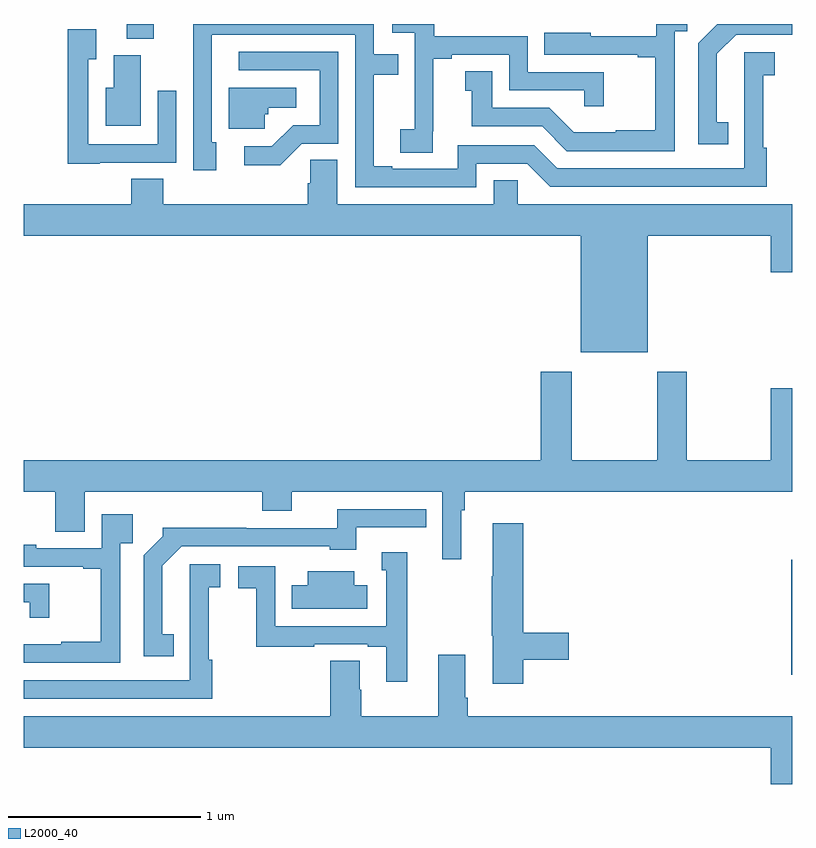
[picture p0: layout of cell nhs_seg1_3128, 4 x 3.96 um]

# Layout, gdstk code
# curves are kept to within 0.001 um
import gdstk
lib = gdstk.Library(unit=1e-6, precision=1e-09)
def R(c, l, rs):  # rectangles x0, y0, x1, y1
    for r in rs: c.add(gdstk.rectangle(r[:2], r[2:], *l))
def P(c, l, *ps):  # polygons
    for p in ps: c.add(gdstk.Polygon(p, *l))
L2000_40 = (2000, 40)

nhs_seg1_3128 = lib.new_cell('nhs_seg1_3128')
R(nhs_seg1_3128, L2000_40, [(284.995,518.813,285,519.41), (281.537,522.121,281.677,522.199)])
P(nhs_seg1_3128, L2000_40, [(284.388,522.161),(284.453,522.161),(284.453,522.199),(284.292,522.199),(284.292,522.135),(283.951,522.135),(283.951,522.154),(283.708,522.154),(283.708,522.039),(284.195,522.039),(284.195,522.027),(284.287,522.027),(284.287,521.647),(284.081,521.647),(284.081,521.635),(283.862,521.635),(283.734,521.763),(283.438,521.763),(283.438,521.954),(283.298,521.954),(283.298,521.851),(283.331,521.851),(283.331,521.667),(283.698,521.667),(283.827,521.538),(284.388,521.538)],
  [(284.666,521.687),(284.608,521.687),(284.608,522.043),(284.709,522.144),(285,522.144),(285,522.199),(284.61,522.199),(284.61,522.197),(284.511,522.098),(284.511,521.574),(284.666,521.574)],
  [(283.13,521.641),(283.132,521.641),(283.132,522.019),(283.228,522.019),(283.228,522.039),(283.527,522.039),(283.527,521.853),(283.917,521.853),(283.917,521.772),(284.018,521.772),(284.018,521.949),(283.623,521.949),(283.623,522.135),(283.136,522.135),(283.136,522.199),(282.918,522.199),(282.918,522.153),(283.035,522.153),(283.035,521.849),(283.034,521.849),(283.034,521.652),(282.96,521.652),(282.96,521.53),(283.13,521.53)],
  [(283.356,521.472),(283.62,521.472),(283.74,521.352),(284.867,521.352),(284.867,521.555),(284.85,521.555),(284.85,521.931),(284.908,521.931),(284.908,522.052),(284.75,522.052),(284.751,521.448),(283.776,521.448),(283.656,521.568),(283.26,521.568),(283.26,521.445),(282.919,521.445),(282.919,521.46),(282.823,521.46),(282.823,521.934),(282.95,521.934),(282.95,522.042),(282.822,522.042),(282.822,522.199),(281.882,522.199),(281.883,521.439),(282.001,521.439),(282.001,521.583),(281.979,521.583),(281.979,522.144),(282.726,522.144),(282.726,521.349),(283.356,521.349)],
  [(281.397,521.478),(281.793,521.478),(281.793,521.851),(281.697,521.851),(281.697,521.574),(281.337,521.574),(281.337,522.016),(281.377,522.016),(281.377,522.172),(281.229,522.172),(281.229,521.471),(281.397,521.471)],
  [(282.447,521.577),(282.636,521.577),(282.636,522.054),(282.12,522.054),(282.12,521.958),(282.54,521.958),(282.54,521.673),(282.402,521.673),(282.291,521.562),(282.147,521.562),(282.147,521.465),(282.334,521.465)],
  [(281.608,522.036),(281.468,522.036),(281.468,521.866),(281.426,521.866),(281.426,521.669),(281.608,521.669)],
  [(282.255,521.73),(282.274,521.73),(282.274,521.762),(282.418,521.762),(282.418,521.866),(282.068,521.866),(282.068,521.655),(282.255,521.655)],
  [(284.248,521.096),(284.888,521.096),(284.888,520.908),(285,520.908),(285,521.26),(283.572,521.26),(283.572,521.387),(283.445,521.387),(283.445,521.26),(282.631,521.26),(282.631,521.492),(282.492,521.492),(282.492,521.369),(282.479,521.369),(282.479,521.26),(281.726,521.26),(281.726,521.393),(281.561,521.393),(281.561,521.26),(281,521.26),(281,521.096),(283.898,521.096),(283.898,520.49),(284.248,520.49)],
  [(283.276,519.668),(283.295,519.668),(283.295,519.764),(285,519.764),(285,520.303),(284.888,520.303),(284.888,519.928),(284.451,519.928),(284.451,520.39),(284.296,520.39),(284.296,519.928),(283.851,519.928),(283.851,520.39),(283.691,520.39),(283.691,519.928),(281,519.928),(281,519.764),(281.165,519.764),(281.165,519.556),(281.317,519.556),(281.317,519.764),(282.242,519.764),(282.242,519.665),(282.394,519.665),(282.394,519.764),(283.179,519.764),(283.179,519.414),(283.276,519.414)],
  [(281.78,519.023),(281.722,519.023),(281.722,519.379),(281.823,519.48),(282.594,519.48),(282.594,519.464),(282.73,519.464),(282.73,519.579),(283.094,519.579),(283.094,519.675),(282.631,519.675),(282.631,519.576),(282.158,519.576),(282.158,519.578),(281.724,519.578),(281.724,519.533),(281.625,519.434),(281.625,518.91),(281.78,518.91)],
  [(281.502,519.497),(281.567,519.497),(281.567,519.649),(281.406,519.649),(281.406,519.471),(281.065,519.471),(281.065,519.49),(281,519.49),(281,519.375),(281.309,519.375),(281.309,519.363),(281.401,519.363),(281.401,518.983),(281.195,518.983),(281.195,518.971),(281,518.971),(281,518.874),(281.502,518.874)],
  [(283.601,518.89),(283.837,518.89),(283.837,519.032),(283.601,519.032),(283.601,519.601),(283.442,519.601),(283.442,519.326),(283.435,519.326),(283.435,519.015),(283.442,519.015),(283.442,518.766),(283.601,518.766)],
  [(282.997,519.451),(282.863,519.451),(282.863,519.357),(282.888,519.357),(282.888,519.066),(282.309,519.066),(282.309,519.378),(282.117,519.378),(282.117,519.262),(282.211,519.262),(282.211,518.958),(282.512,518.958),(282.512,518.97),(282.791,518.97),(282.791,518.958),(282.887,518.958),(282.887,518.775),(282.997,518.775)],
  [(281.981,518.891),(281.964,518.891),(281.964,519.267),(282.022,519.267),(282.022,519.388),(281.864,519.388),(281.864,519.112),(281.865,519.112),(281.865,518.784),(281,518.784),(281,518.688),(281.981,518.688)],
  [(282.787,519.277),(282.721,519.277),(282.721,519.352),(282.479,519.352),(282.479,519.277),(282.394,519.277),(282.394,519.155),(282.787,519.155)],
  [(281.132,519.285),(281,519.285),(281,519.189),(281.031,519.189),(281.031,519.108),(281.132,519.108)],
  [(285,518.596),(283.31,518.596),(283.31,518.692),(283.297,518.692),(283.297,518.917),(283.157,518.917),(283.157,518.596),(282.756,518.596),(282.756,518.735),(282.748,518.735),(282.748,518.885),(282.596,518.885),(282.596,518.596),(281,518.596),(281,518.432),(284.888,518.432),(284.888,518.244),(285,518.244)])

lib.write_gds('nhs_seg1_3128.gds')
